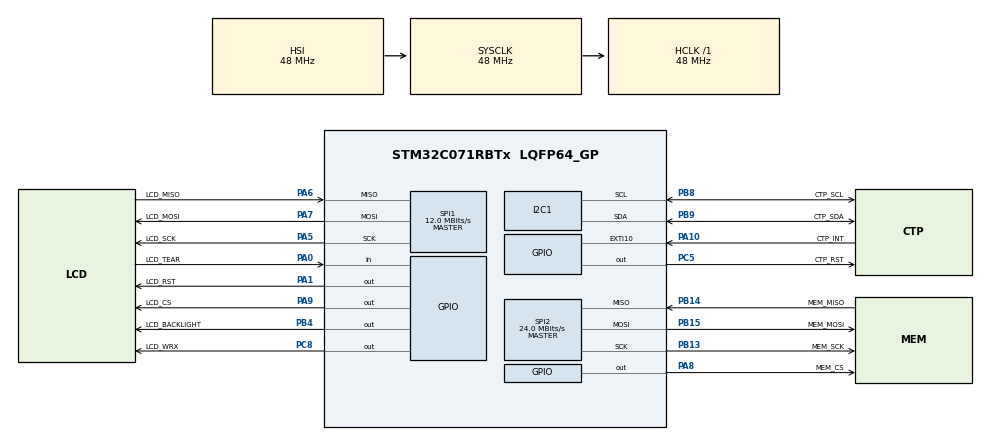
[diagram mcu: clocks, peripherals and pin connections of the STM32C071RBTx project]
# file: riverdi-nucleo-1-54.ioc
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I2C1.Timing=0x10805D88
Mcu.Family=STM32C0
Mcu.Name=STM32C071RBTx
Mcu.Package=LQFP64_GP
NVIC.EXTI4_15_IRQn=true\:0\:0\:false\:false\:true\:true\:true\:true
PA0.GPIO_Label=LCD_TEAR
PA0.Signal=GPIO_Input
PA1.GPIO_Label=LCD_RST
PA1.Signal=GPIO_Output
PA10\ [PA12].GPIO_Label=CTP_INT
PA10\ [PA12].GPIO_ModeDefaultEXTI=GPIO_MODE_IT_FALLING
PA10\ [PA12].GPIO_PuPd=GPIO_PULLUP
PA10\ [PA12].Signal=GPXTI10
PA5.GPIO_Label=LCD_SCK
PA5.GPIO_Speed=GPIO_SPEED_FREQ_VERY_HIGH
PA5.Mode=Full_Duplex_Master
PA5.Signal=SPI1_SCK
PA6.GPIO_Label=LCD_MISO
PA6.GPIO_Speed=GPIO_SPEED_FREQ_VERY_HIGH
PA6.Mode=Full_Duplex_Master
PA6.Signal=SPI1_MISO
PA7.GPIO_Label=LCD_MOSI
PA7.GPIO_Speed=GPIO_SPEED_FREQ_VERY_HIGH
PA7.Mode=Full_Duplex_Master
PA7.Signal=SPI1_MOSI
PA8.GPIO_Label=MEM_CS
PA8.PinState=GPIO_PIN_SET
PA8.Signal=GPIO_Output
PA9\ [PA11].GPIO_Label=LCD_CS
PA9\ [PA11].PinState=GPIO_PIN_SET
PA9\ [PA11].Signal=GPIO_Output
PB13.GPIO_Label=MEM_SCK
PB13.Mode=Full_Duplex_Master
PB13.Signal=SPI2_SCK
PB14.GPIO_Label=MEM_MISO
PB14.Mode=Full_Duplex_Master
PB14.Signal=SPI2_MISO
PB15.GPIO_Label=MEM_MOSI
PB15.Mode=Full_Duplex_Master
PB15.Signal=SPI2_MOSI
PB4.GPIO_Label=LCD_BACKLIGHT
PB4.PinState=GPIO_PIN_SET
PB4.Signal=GPIO_Output
PB8.GPIO_Label=CTP_SCL
PB8.Mode=I2C
PB8.Signal=I2C1_SCL
PB9.GPIO_Label=CTP_SDA
PB9.Mode=I2C
PB9.Signal=I2C1_SDA
PC5.GPIO_Label=CTP_RST
PC5.PinState=GPIO_PIN_RESET
PC5.Signal=GPIO_Output
PC8.GPIO_Label=LCD_WRX
PC8.Signal=GPIO_Output
ProjectManager.HeapSize=0x200
ProjectManager.StackSize=0x400
ProjectManager.TargetToolchain=STM32CubeIDE
RCC.ADCFreq_Value=48000000
RCC.AHBFreq_Value=48000000
RCC.CortexFreq_Value=48000000
RCC.EXTERNAL_CLOCK_VALUE=12288000
RCC.HCLKFreq_Value=48000000
RCC.HSE_VALUE=8000000
RCC.HSI48_VALUE=48000000
RCC.HSISYSCLKDivider=RCC_HSI_DIV1
RCC.HSI_VALUE=48000000
RCC.LSE_VALUE=32768
RCC.SYSCLKFreq_VALUE=48000000
SPI1.BaudRatePrescaler=SPI_BAUDRATEPRESCALER_4
SPI1.CalculateBaudRate=12.0 MBits/s
SPI1.Direction=SPI_DIRECTION_2LINES
SPI1.Mode=SPI_MODE_MASTER
SPI1.VirtualType=VM_MASTER
SPI2.CalculateBaudRate=24.0 MBits/s
SPI2.Direction=SPI_DIRECTION_2LINES
SPI2.Mode=SPI_MODE_MASTER
SPI2.VirtualType=VM_MASTER
board=NUCLEO-C071RB

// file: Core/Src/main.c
/* USER CODE BEGIN Header */
/**
  ******************************************************************************
  * @file           : main.c
  * @brief          : Main program body
  ******************************************************************************
  * @attention
  *
  * Copyright (c) 2024 STMicroelectronics.
  * All rights reserved.
  *
  * This software is licensed under terms that can be found in the LICENSE file
  * in the root directory of this software component.
  * If no LICENSE file comes with this software, it is provided AS-IS.
  *
  ******************************************************************************
  */
/* USER CODE END Header */
#include "main.h"

/* USER CODE BEGIN Includes */
#include "lvgl/lvgl.h"
#include "lvgl_port_touch.h"
#include "lvgl_port_display.h"
/* USER CODE END Includes */

I2C_HandleTypeDef hi2c1;

SPI_HandleTypeDef hspi1;
SPI_HandleTypeDef hspi2;

/* USER CODE BEGIN PV */
static lv_obj_t *meter;
/* USER CODE END PV */

void SystemClock_Config(void);
static void MX_GPIO_Init(void);
static void MX_I2C1_Init(void);
static void MX_SPI1_Init(void);
static void MX_SPI2_Init(void);

/* USER CODE BEGIN 0 */

/*
 * ui_btn_event_cb()
 */
static void
ui_btn_event_cb (lv_event_t *event)
{
  lv_obj_t *btn;
  lv_event_code_t code;

  btn = lv_event_get_target(event);
  code = lv_event_get_code(event);

  if (code == LV_EVENT_CLICKED)
    {
       static uint8_t cnt = 0;
       cnt++;

       lv_obj_t *label = lv_obj_get_child(btn, 0);
       lv_label_set_text_fmt(label, "Clicked: %d", cnt);
    }
}

/*
 * ui_set_indic_value()
 */
static void
ui_set_indic_value (void     *indic,
                    int32_t   value)
{
  lv_meter_set_indicator_end_value (meter, indic, value);
}

/*
 * ui_example_meter()
 */
static void
ui_example_meter (void)
{
  meter = lv_meter_create(lv_scr_act());
  lv_obj_align(meter, LV_ALIGN_TOP_MID, 0, 5);
  lv_obj_set_size(meter, 180, 180);

  /* remove the circle from the middle */
  lv_obj_remove_style(meter, NULL, LV_PART_INDICATOR);

  /* add a scale first */
  lv_meter_scale_t *scale = lv_meter_add_scale(meter);
  lv_meter_set_scale_ticks(meter, scale, 11, 2, 10, lv_palette_main(LV_PALETTE_GREY));
  lv_meter_set_scale_major_ticks(meter, scale, 2, 2, 30, lv_color_hex3(0xddd), 10);
  lv_meter_set_scale_range(meter, scale, 0, 100, 270, 90);

  /* add a three arc indicator */
  lv_meter_indicator_t *indic1 = lv_meter_add_arc(meter, scale, 10, lv_color_hex(0xFF6229), 0);
  lv_meter_indicator_t *indic2 = lv_meter_add_arc(meter, scale, 10, lv_color_hex(0x002175), -10);
  lv_meter_indicator_t *indic3 = lv_meter_add_arc(meter, scale, 10, lv_palette_main(LV_PALETTE_GREEN), -20);

  /* create an animation to set the value */
  lv_anim_t a;
  lv_anim_init(&a);
  lv_anim_set_exec_cb(&a, ui_set_indic_value);
  lv_anim_set_values(&a, 0, 100);
  lv_anim_set_repeat_delay(&a, 100);
  lv_anim_set_playback_delay(&a, 100);
  lv_anim_set_repeat_count(&a, LV_ANIM_REPEAT_INFINITE);

  /* start animation - indicator 1 */
  lv_anim_set_time(&a, 2000);
  lv_anim_set_playback_time(&a, 1000);
  lv_anim_set_var(&a, indic1);
  lv_anim_start(&a);

  /* start animation - indicator 2 */
  lv_anim_set_time(&a, 1000);
  lv_anim_set_playback_time(&a, 2000);
  lv_anim_set_var(&a, indic2);
  lv_anim_start(&a);

  /* start animation - indicator 3 */
  lv_anim_set_time(&a, 1000);
  lv_anim_set_playback_time(&a, 5000);
  lv_anim_set_var(&a, indic3);
  lv_anim_start(&a);

  /* add button */
  lv_obj_t *btn = lv_btn_create(lv_scr_act());
  lv_obj_align(btn, LV_ALIGN_BOTTOM_MID, 0, -15);
  lv_obj_set_size(btn, 120, 30);
  lv_obj_add_event_cb(btn, ui_btn_event_cb, LV_EVENT_ALL, NULL);

  /* add a label to the button */
  lv_obj_t *label = lv_label_create(btn);
  lv_label_set_text(label, "Click!");
  lv_obj_center(label);
}
/* USER CODE END 0 */

int main(void)
{

  /* MCU Configuration--------------------------------------------------------*/

  /* Reset of all peripherals, Initializes the Flash interface and the Systick. */
  HAL_Init();

  /* Configure the system clock */
  SystemClock_Config();

  /* Initialize all configured peripherals */
  MX_GPIO_Init();
  MX_I2C1_Init();
  MX_SPI1_Init();
  MX_SPI2_Init();
  /* USER CODE BEGIN 2 */

  /* initialize LVGL framework */
  lv_init();

  /* initialize display and touch */
  lvgl_display_init();
  lvgl_touchscreen_init();

  /* LVGL demo */
  ui_example_meter();

  /* USER CODE END 2 */

  /* Infinite loop */
  while (1)
  {

    /* USER CODE BEGIN 3 */
    HAL_Delay(5);
    lv_task_handler();
  }
  /* USER CODE END 3 */
}

void SystemClock_Config(void)
{
  RCC_OscInitTypeDef RCC_OscInitStruct = {0};
  RCC_ClkInitTypeDef RCC_ClkInitStruct = {0};

  /** Initializes the RCC Oscillators according to the specified parameters
  * in the RCC_OscInitTypeDef structure.
  */
  RCC_OscInitStruct.OscillatorType = RCC_OSCILLATORTYPE_HSI;
  RCC_OscInitStruct.HSIState = RCC_HSI_ON;
  RCC_OscInitStruct.HSIDiv = RCC_HSI_DIV1;
  RCC_OscInitStruct.HSICalibrationValue = RCC_HSICALIBRATION_DEFAULT;
  if (HAL_RCC_OscConfig(&RCC_OscInitStruct) != HAL_OK)
  {
    Error_Handler();
  }

  /** Initializes the CPU, AHB and APB buses clocks
  */
  RCC_ClkInitStruct.ClockType = RCC_CLOCKTYPE_HCLK|RCC_CLOCKTYPE_SYSCLK
                              |RCC_CLOCKTYPE_PCLK1;
  RCC_ClkInitStruct.SYSCLKSource = RCC_SYSCLKSOURCE_HSI;
  RCC_ClkInitStruct.SYSCLKDivider = RCC_SYSCLK_DIV1;
  RCC_ClkInitStruct.AHBCLKDivider = RCC_HCLK_DIV1;
  RCC_ClkInitStruct.APB1CLKDivider = RCC_APB1_DIV1;

  if (HAL_RCC_ClockConfig(&RCC_ClkInitStruct, FLASH_LATENCY_1) != HAL_OK)
  {
    Error_Handler();
  }
}

static void MX_I2C1_Init(void)
{

  hi2c1.Instance = I2C1;
  hi2c1.Init.Timing = 0x10805D88;
  hi2c1.Init.OwnAddress1 = 0;
  hi2c1.Init.AddressingMode = I2C_ADDRESSINGMODE_7BIT;
  hi2c1.Init.DualAddressMode = I2C_DUALADDRESS_DISABLE;
  hi2c1.Init.OwnAddress2 = 0;
  hi2c1.Init.OwnAddress2Masks = I2C_OA2_NOMASK;
  hi2c1.Init.GeneralCallMode = I2C_GENERALCALL_DISABLE;
  hi2c1.Init.NoStretchMode = I2C_NOSTRETCH_DISABLE;
  if (HAL_I2C_Init(&hi2c1) != HAL_OK)
  {
    Error_Handler();
  }

  /** Configure Analogue filter
  */
  if (HAL_I2CEx_ConfigAnalogFilter(&hi2c1, I2C_ANALOGFILTER_ENABLE) != HAL_OK)
  {
    Error_Handler();
  }

  /** Configure Digital filter
  */
  if (HAL_I2CEx_ConfigDigitalFilter(&hi2c1, 0) != HAL_OK)
  {
    Error_Handler();
  }

}

static void MX_SPI1_Init(void)
{

  /* SPI1 parameter configuration*/
  hspi1.Instance = SPI1;
  hspi1.Init.Mode = SPI_MODE_MASTER;
  hspi1.Init.Direction = SPI_DIRECTION_2LINES;
  hspi1.Init.DataSize = SPI_DATASIZE_8BIT;
  hspi1.Init.CLKPolarity = SPI_POLARITY_LOW;
  hspi1.Init.CLKPhase = SPI_PHASE_1EDGE;
  hspi1.Init.NSS = SPI_NSS_SOFT;
  hspi1.Init.BaudRatePrescaler = SPI_BAUDRATEPRESCALER_4;
  hspi1.Init.FirstBit = SPI_FIRSTBIT_MSB;
  hspi1.Init.TIMode = SPI_TIMODE_DISABLE;
  hspi1.Init.CRCCalculation = SPI_CRCCALCULATION_DISABLE;
  hspi1.Init.CRCPolynomial = 7;
  hspi1.Init.CRCLength = SPI_CRC_LENGTH_DATASIZE;
  hspi1.Init.NSSPMode = SPI_NSS_PULSE_ENABLE;
  if (HAL_SPI_Init(&hspi1) != HAL_OK)
  {
    Error_Handler();
  }

}

static void MX_SPI2_Init(void)
{

  /* SPI2 parameter configuration*/
  hspi2.Instance = SPI2;
  hspi2.Init.Mode = SPI_MODE_MASTER;
  hspi2.Init.Direction = SPI_DIRECTION_2LINES;
  hspi2.Init.DataSize = SPI_DATASIZE_8BIT;
  hspi2.Init.CLKPolarity = SPI_POLARITY_LOW;
  hspi2.Init.CLKPhase = SPI_PHASE_1EDGE;
  hspi2.Init.NSS = SPI_NSS_SOFT;
  hspi2.Init.BaudRatePrescaler = SPI_BAUDRATEPRESCALER_2;
  hspi2.Init.FirstBit = SPI_FIRSTBIT_MSB;
  hspi2.Init.TIMode = SPI_TIMODE_DISABLE;
  hspi2.Init.CRCCalculation = SPI_CRCCALCULATION_DISABLE;
  hspi2.Init.CRCPolynomial = 7;
  hspi2.Init.CRCLength = SPI_CRC_LENGTH_DATASIZE;
  hspi2.Init.NSSPMode = SPI_NSS_PULSE_ENABLE;
  if (HAL_SPI_Init(&hspi2) != HAL_OK)
  {
    Error_Handler();
  }

}

static void MX_GPIO_Init(void)
{
  GPIO_InitTypeDef GPIO_InitStruct = {0};

  /* GPIO Ports Clock Enable */
  __HAL_RCC_GPIOA_CLK_ENABLE();
  __HAL_RCC_GPIOC_CLK_ENABLE();
  __HAL_RCC_GPIOB_CLK_ENABLE();

  /*Configure GPIO pin Output Level */
  HAL_GPIO_WritePin(LCD_RST_GPIO_Port, LCD_RST_Pin, GPIO_PIN_RESET);

  /*Configure GPIO pin Output Level */
  HAL_GPIO_WritePin(GPIOC, CTP_RST_Pin|LCD_WRX_Pin, GPIO_PIN_RESET);

  /*Configure GPIO pin Output Level */
  HAL_GPIO_WritePin(GPIOA, MEM_CS_Pin|LCD_CS_Pin, GPIO_PIN_SET);

  /*Configure GPIO pin Output Level */
  HAL_GPIO_WritePin(LCD_BACKLIGHT_GPIO_Port, LCD_BACKLIGHT_Pin, GPIO_PIN_SET);

  /*Configure GPIO pin : LCD_TEAR_Pin */
  GPIO_InitStruct.Pin = LCD_TEAR_Pin;
  GPIO_InitStruct.Mode = GPIO_MODE_INPUT;
  GPIO_InitStruct.Pull = GPIO_NOPULL;
  HAL_GPIO_Init(LCD_TEAR_GPIO_Port, &GPIO_InitStruct);

  /*Configure GPIO pins : LCD_RST_Pin MEM_CS_Pin LCD_CS_Pin */
  GPIO_InitStruct.Pin = LCD_RST_Pin|MEM_CS_Pin|LCD_CS_Pin;
  GPIO_InitStruct.Mode = GPIO_MODE_OUTPUT_PP;
  GPIO_InitStruct.Pull = GPIO_NOPULL;
  GPIO_InitStruct.Speed = GPIO_SPEED_FREQ_LOW;
  HAL_GPIO_Init(GPIOA, &GPIO_InitStruct);

  /*Configure GPIO pins : CTP_RST_Pin LCD_WRX_Pin */
  GPIO_InitStruct.Pin = CTP_RST_Pin|LCD_WRX_Pin;
  GPIO_InitStruct.Mode = GPIO_MODE_OUTPUT_PP;
  GPIO_InitStruct.Pull = GPIO_NOPULL;
  GPIO_InitStruct.Speed = GPIO_SPEED_FREQ_LOW;
  HAL_GPIO_Init(GPIOC, &GPIO_InitStruct);

  /*Configure GPIO pin : CTP_INT_Pin */
  GPIO_InitStruct.Pin = CTP_INT_Pin;
  GPIO_InitStruct.Mode = GPIO_MODE_IT_FALLING;
  GPIO_InitStruct.Pull = GPIO_PULLUP;
  HAL_GPIO_Init(CTP_INT_GPIO_Port, &GPIO_InitStruct);

  /*Configure GPIO pin : LCD_BACKLIGHT_Pin */
  GPIO_InitStruct.Pin = LCD_BACKLIGHT_Pin;
  GPIO_InitStruct.Mode = GPIO_MODE_OUTPUT_PP;
  GPIO_InitStruct.Pull = GPIO_NOPULL;
  GPIO_InitStruct.Speed = GPIO_SPEED_FREQ_LOW;
  HAL_GPIO_Init(LCD_BACKLIGHT_GPIO_Port, &GPIO_InitStruct);

  /* EXTI interrupt init*/
  HAL_NVIC_SetPriority(EXTI4_15_IRQn, 0, 0);
  HAL_NVIC_EnableIRQ(EXTI4_15_IRQn);

}

void Error_Handler(void)
{
  __disable_irq();
  while (1)
  {
  }
}
